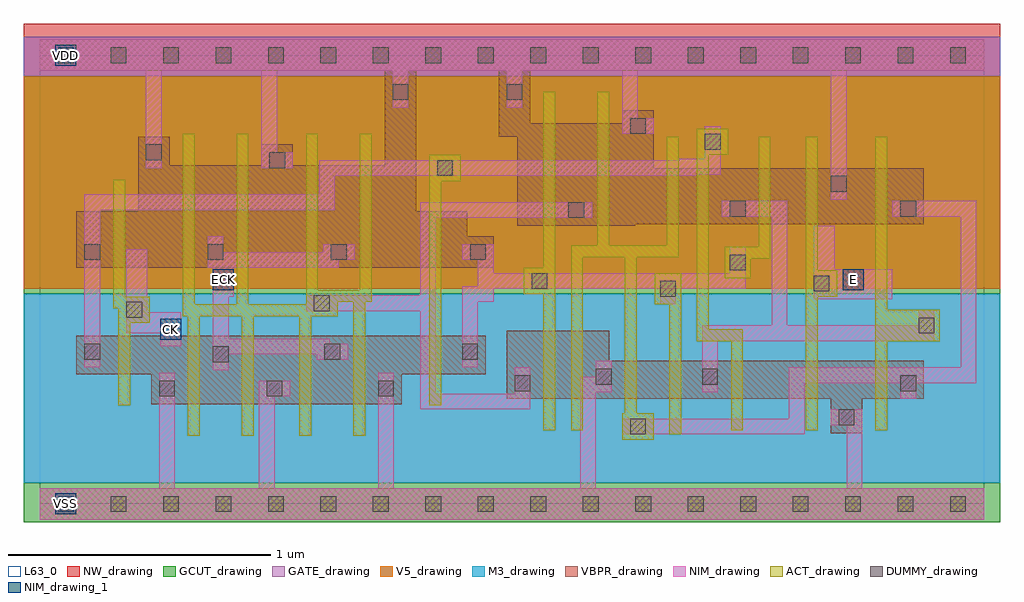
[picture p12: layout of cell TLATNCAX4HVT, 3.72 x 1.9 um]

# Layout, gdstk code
import gdstk
lib = gdstk.Library(unit=1e-6, precision=5e-10)
def R(c, l, rs):  # rectangles x0, y0, x1, y1
    for r in rs: c.add(gdstk.rectangle(r[:2], r[2:], *l))
def A(c, l, x, y, w, h, nx, ny, dx, dy):  # array of equal rectangles
    R(c, l, [(x+i*dx, y+j*dy, x+i*dx+w, y+j*dy+h) for i in range(nx) for j in range(ny)])
def P(c, l, *ps):  # polygons
    for p in ps: c.add(gdstk.Polygon(p, *l))
VBPR_drawing = (1, 0)
NW_drawing = (2, 0)
ACT_drawing = (3, 0)
GATE_drawing = (4, 0)
GCUT_drawing = (5, 0)
DUMMY_drawing = (6, 0)
NIM_drawing = (7, 0)
NIM_drawing_1 = (7, 1)
M3_drawing = (18, 0)
V5_drawing = (23, 0)
L63_0 = (63, 0)

tlatncax4hvt = lib.new_cell('TLATNCAX4HVT')
R(tlatncax4hvt, VBPR_drawing, [(0,-0.06,3.6,0.06), (0,1.65,3.6,1.77)])
P(tlatncax4hvt, VBPR_drawing, [(3.37,1.28),(2.34,1.28),(2.34,1.5),(2.22,1.5),(2.22,1.45),(1.87,1.45),(1.87,1.65),(1.75,1.65),(1.75,1.4),(1.82,1.4),(1.82,1.06),(2.27,1.06),(2.27,1.065),(3.37,1.065)],
  [(0.14,0.64),(1.7,0.64),(1.7,0.495),(1.38,0.495),(1.38,0.38),(0.425,0.38),(0.425,0.495),(0.14,0.495)],
  [(1.78,0.66),(2.17,0.66),(2.17,0.545),(3.37,0.545),(3.37,0.4),(3.135,0.4),(3.135,0.27),(3.015,0.27),(3.015,0.4),(1.78,0.4)],
  [(1.73,1.02),(1.63,1.02),(1.63,1.115),(1.435,1.115),(1.435,1.65),(1.315,1.65),(1.315,1.29),(0.965,1.29),(0.965,1.37),(0.845,1.37),(0.845,1.29),(0.495,1.29),(0.495,1.4),(0.375,1.4),(0.375,1.115),(0.14,1.115),(0.14,0.9),(1.73,0.9)])
R(tlatncax4hvt, NW_drawing, [(-0.06,0.82,3.66,1.83)])
P(tlatncax4hvt, ACT_drawing, [(0.545,1.41),(0.59,1.41),(0.59,0.76),(0.75,0.76),(0.75,1.41),(0.795,1.41),(0.795,0.76),(1.015,0.76),(1.015,1.41),(1.06,1.41),(1.06,0.815),(1.22,0.815),(1.22,1.41),(1.265,1.41),(1.265,0.77),(1.24,0.77),(1.24,0.26),(1.195,0.26),(1.195,0.77),(1.135,0.77),(1.135,0.715),(1.035,0.715),(1.035,0.26),(0.99,0.26),(0.99,0.715),(0.815,0.715),(0.815,0.26),(0.77,0.26),(0.77,0.715),(0.61,0.715),(0.61,0.26),(0.565,0.26),(0.565,0.715),(0.545,0.715)],
  [(0.28,1.235),(0.325,1.235),(0.325,0.79),(0.42,0.79),(0.42,0.69),(0.345,0.69),(0.345,0.375),(0.3,0.375),(0.3,0.745),(0.28,0.745)],
  [(1.92,1.57),(1.965,1.57),(1.965,0.28),(1.92,0.28),(1.92,0.8),(1.845,0.8),(1.845,0.9),(1.92,0.9)],
  [(2.125,1.57),(2.17,1.57),(2.17,0.985),(2.39,0.985),(2.39,1.4),(2.435,1.4),(2.435,0.94),(2.275,0.94),(2.275,0.345),(2.34,0.345),(2.34,0.245),(2.22,0.245),(2.22,0.345),(2.23,0.345),(2.23,0.94),(2.07,0.94),(2.07,0.28),(2.025,0.28),(2.025,0.985),(2.125,0.985)],
  [(1.485,1.33),(1.605,1.33),(1.605,1.23),(1.53,1.23),(1.53,0.375),(1.485,0.375)],
  [(2.505,1.43),(2.625,1.43),(2.625,1.33),(2.55,1.33),(2.55,0.665),(2.68,0.665),(2.68,0.28),(2.635,0.28),(2.635,0.62),(2.505,0.62)],
  [(2.74,1.4),(2.785,1.4),(2.785,0.935),(2.71,0.935),(2.71,0.86),(2.61,0.86),(2.61,0.98),(2.74,0.98)],
  [(2.92,1.4),(2.965,1.4),(2.965,0.89),(3.04,0.89),(3.04,0.79),(2.965,0.79),(2.965,0.28),(2.92,0.28)],
  [(3.185,1.4),(3.23,1.4),(3.23,0.74),(3.43,0.74),(3.43,0.62),(3.23,0.62),(3.23,0.28),(3.185,0.28)],
  [(2.345,0.88),(2.445,0.88),(2.445,0.265),(2.4,0.265),(2.4,0.76),(2.345,0.76)])
R(tlatncax4hvt, GATE_drawing, [(-0.06,0.08,3.66,0.8), (-0.06,1.63,3.66,1.78)])
R(tlatncax4hvt, GCUT_drawing, [(-0.06,-0.07,3.66,0.08), (-0.06,0.8,3.66,1.63)])
A(tlatncax4hvt, DUMMY_drawing, 0.07, -0.03, 0.06, 0.06, 18, 2, 0.2, 1.71)
A(tlatncax4hvt, DUMMY_drawing, 0.17, 0.93, 0.06, 0.06, 3, 1, 0.47, 0)
R(tlatncax4hvt, DUMMY_drawing, [(2.25,0.265,2.31,0.325), (3.045,0.3,3.105,0.36), (0.455,0.41,0.515,0.47), (0.865,0.41,0.925,0.47), (1.29,0.41,1.35,0.47), (1.81,0.43,1.87,0.49), (3.28,0.43,3.34,0.49), (2.12,0.455,2.18,0.515), (2.525,0.455,2.585,0.515), (0.66,0.54,0.72,0.6), (0.17,0.55,0.23,0.61), (1.085,0.55,1.145,0.61), (1.61,0.55,1.67,0.61), (3.35,0.65,3.41,0.71), (0.33,0.71,0.39,0.77), (1.045,0.735,1.105,0.795), (2.365,0.79,2.425,0.85), (2.95,0.81,3.01,0.87), (1.875,0.82,1.935,0.88), (2.63,0.89,2.69,0.95), (1.64,0.93,1.7,0.99), (2.015,1.09,2.075,1.15), (2.63,1.095,2.69,1.155), (3.28,1.095,3.34,1.155), (3.015,1.19,3.075,1.25), (1.515,1.25,1.575,1.31), (0.875,1.28,0.935,1.34), (0.405,1.31,0.465,1.37), (2.535,1.35,2.595,1.41), (2.25,1.41,2.31,1.47), (1.345,1.54,1.405,1.6), (1.78,1.54,1.84,1.6)])
R(tlatncax4hvt, NIM_drawing, [(0.455,0.06,0.515,0.5), (1.29,0.06,1.35,0.5), (3.015,1.16,3.075,1.65), (0.405,1.28,0.465,1.65), (1.345,1.51,1.405,1.65), (1.78,1.51,1.84,1.65)])
P(tlatncax4hvt, NIM_drawing, [(0.965,1.34),(0.905,1.34),(0.905,1.65),(0.845,1.65),(0.845,1.28),(0.965,1.28)],
  [(2.34,1.47),(2.28,1.47),(2.28,1.65),(2.22,1.65),(2.22,1.41),(2.34,1.41)],
  [(0.955,0.47),(0.835,0.47),(0.835,0.06),(0.895,0.06),(0.895,0.41),(0.955,0.41)],
  [(2.18,0.545),(2.12,0.545),(2.12,0.485),(2.06,0.485),(2.06,0.06),(2.12,0.06),(2.12,0.425),(2.18,0.425)],
  [(2.535,1.44),(2.595,1.44),(2.595,1.255),(2.5,1.255),(2.5,1.25),(1.125,1.25),(1.125,1.12),(0.23,1.12),(0.23,0.52),(0.17,0.52),(0.17,1.18),(1.065,1.18),(1.065,1.31),(2.44,1.31),(2.44,1.315),(2.535,1.315)],
  [(1.45,1.15),(2.105,1.15),(2.105,1.09),(1.51,1.09),(1.51,0.42),(1.81,0.42),(1.81,0.52),(1.87,0.52),(1.87,0.36),(1.45,0.36),(1.45,0.735),(1.015,0.735),(1.015,0.795),(1.45,0.795)],
  [(0.64,1.02),(0.7,1.02),(0.7,0.96),(1.08,0.96),(1.08,0.99),(1.2,0.99),(1.2,0.93),(1.14,0.93),(1.14,0.9),(0.74,0.9),(0.74,0.79),(0.72,0.79),(0.72,0.63),(1.105,0.63),(1.105,0.61),(1.175,0.61),(1.175,0.55),(1.055,0.55),(1.055,0.57),(0.72,0.57),(0.72,0.51),(0.66,0.51),(0.66,0.9),(0.64,0.9)],
  [(0.33,0.97),(0.41,0.97),(0.41,0.73),(0.54,0.73),(0.54,0.6),(0.46,0.6),(0.46,0.65),(0.33,0.65)],
  [(2.6,1.155),(2.85,1.155),(2.85,0.68),(3.35,0.68),(3.35,0.74),(3.41,0.74),(3.41,0.62),(2.585,0.62),(2.585,0.425),(2.525,0.425),(2.525,0.68),(2.79,0.68),(2.79,1.095),(2.6,1.095)],
  [(3.25,1.155),(3.57,1.155),(3.57,0.46),(3.34,0.46),(3.34,0.4),(3.28,0.4),(3.28,0.46),(2.915,0.46),(2.915,0.265),(2.22,0.265),(2.22,0.325),(2.855,0.325),(2.855,0.52),(3.51,0.52),(3.51,1.095),(3.25,1.095)],
  [(1.61,0.99),(1.73,0.99),(1.73,0.88),(2.63,0.88),(2.63,0.98),(2.69,0.98),(2.69,0.82),(2.425,0.82),(2.425,0.76),(2.365,0.76),(2.365,0.82),(1.73,0.82),(1.73,0.77),(1.67,0.77),(1.67,0.52),(1.61,0.52),(1.61,0.83),(1.67,0.83),(1.67,0.93),(1.61,0.93)],
  [(3.135,0.36),(3.015,0.36),(3.015,0.3),(3.075,0.3),(3.075,0.06),(3.135,0.06)],
  [(2.95,1.06),(3.03,1.06),(3.03,0.895),(3.25,0.895),(3.25,0.78),(2.95,0.78)])
R(tlatncax4hvt, NIM_drawing_1, [(0.06,-0.04,0.14,0.04), (0.46,0.625,0.54,0.705), (0.66,0.815,0.74,0.895), (3.06,0.815,3.14,0.895), (0.06,1.67,0.14,1.75)])
R(tlatncax4hvt, M3_drawing, [(-0.06,0.08,3.66,0.8)])
R(tlatncax4hvt, V5_drawing, [(-0.06,0.82,3.66,1.63)])
R(tlatncax4hvt, L63_0, [(0,0,3.6,1.71)])
tlatncax4hvt.add(gdstk.FlexPath([(0,0),(3.6,0)], 0.12, ends="flush", simple_path=True, layer=7, datatype=0))  # NIM_drawing
tlatncax4hvt.add(gdstk.FlexPath([(0,1.71),(3.6,1.71)], 0.12, ends="flush", simple_path=True, layer=7, datatype=0))  # NIM_drawing
tlatncax4hvt.add(gdstk.Label('ECK', (0.7,0.855), layer=7, texttype=1))
tlatncax4hvt.add(gdstk.Label('E', (3.1,0.855), layer=7, texttype=1))
tlatncax4hvt.add(gdstk.Label('CK', (0.5,0.665), layer=7, texttype=1))
tlatncax4hvt.add(gdstk.Label('VDD', (0.1,1.71), layer=7, texttype=1))
tlatncax4hvt.add(gdstk.Label('VSS', (0.1,0), layer=7, texttype=1))
tlatncax4hvt.add(gdstk.Label('VSS', (0.1,0), layer=7, texttype=1))
tlatncax4hvt.add(gdstk.Label('VDD', (0.1,1.71), layer=7, texttype=1))
tlatncax4hvt.add(gdstk.Label('CK', (0.5,0.665), layer=7, texttype=1))
tlatncax4hvt.add(gdstk.Label('E', (3.1,0.855), layer=7, texttype=1))
tlatncax4hvt.add(gdstk.Label('ECK', (0.7,0.855), layer=7, texttype=1))
tlatncax4hvt.add(gdstk.Label('TLATNCAX4', (0,0), layer=63, texttype=0))

lib.write_gds('TLATNCAX4HVT.gds')
